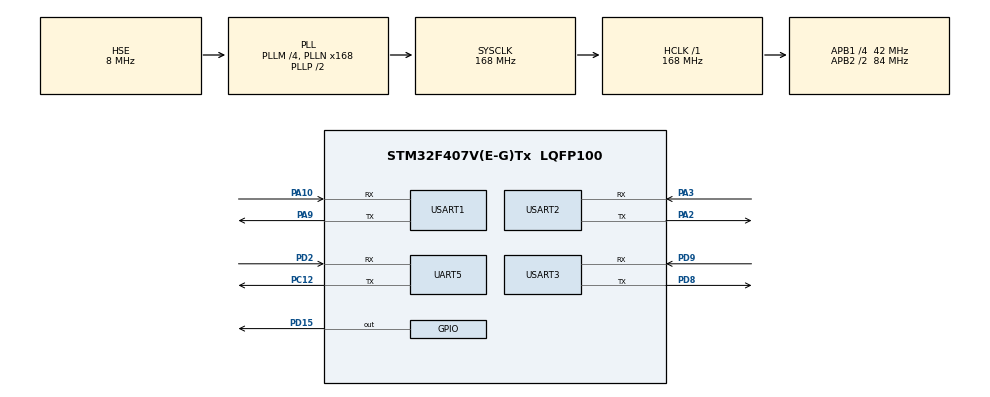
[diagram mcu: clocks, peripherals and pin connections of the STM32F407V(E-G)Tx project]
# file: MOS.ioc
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Dma.Request0=USART2_TX
Dma.Request1=USART2_RX
Dma.Request2=USART3_RX
Dma.Request3=UART5_RX
Dma.Request4=UART5_TX
Dma.UART5_RX.3.Direction=DMA_PERIPH_TO_MEMORY
Dma.UART5_RX.3.FIFOMode=DMA_FIFOMODE_DISABLE
Dma.UART5_RX.3.Instance=DMA1_Stream0
Dma.UART5_RX.3.MemDataAlignment=DMA_MDATAALIGN_BYTE
Dma.UART5_RX.3.MemInc=DMA_MINC_ENABLE
Dma.UART5_RX.3.Mode=DMA_NORMAL
Dma.UART5_RX.3.PeriphDataAlignment=DMA_PDATAALIGN_BYTE
Dma.UART5_RX.3.PeriphInc=DMA_PINC_DISABLE
Dma.UART5_RX.3.Priority=DMA_PRIORITY_LOW
Dma.UART5_TX.4.Direction=DMA_MEMORY_TO_PERIPH
Dma.UART5_TX.4.FIFOMode=DMA_FIFOMODE_DISABLE
Dma.UART5_TX.4.Instance=DMA1_Stream7
Dma.UART5_TX.4.MemDataAlignment=DMA_MDATAALIGN_BYTE
Dma.UART5_TX.4.MemInc=DMA_MINC_ENABLE
Dma.UART5_TX.4.Mode=DMA_NORMAL
Dma.UART5_TX.4.PeriphDataAlignment=DMA_PDATAALIGN_BYTE
Dma.UART5_TX.4.PeriphInc=DMA_PINC_DISABLE
Dma.UART5_TX.4.Priority=DMA_PRIORITY_LOW
Dma.USART2_RX.1.Direction=DMA_PERIPH_TO_MEMORY
Dma.USART2_RX.1.FIFOMode=DMA_FIFOMODE_DISABLE
Dma.USART2_RX.1.Instance=DMA1_Stream5
Dma.USART2_RX.1.MemDataAlignment=DMA_MDATAALIGN_BYTE
Dma.USART2_RX.1.MemInc=DMA_MINC_ENABLE
Dma.USART2_RX.1.Mode=DMA_NORMAL
Dma.USART2_RX.1.PeriphDataAlignment=DMA_PDATAALIGN_BYTE
Dma.USART2_RX.1.PeriphInc=DMA_PINC_DISABLE
Dma.USART2_RX.1.Priority=DMA_PRIORITY_LOW
Dma.USART2_TX.0.Direction=DMA_MEMORY_TO_PERIPH
Dma.USART2_TX.0.FIFOMode=DMA_FIFOMODE_DISABLE
Dma.USART2_TX.0.Instance=DMA1_Stream6
Dma.USART2_TX.0.MemDataAlignment=DMA_MDATAALIGN_BYTE
Dma.USART2_TX.0.MemInc=DMA_MINC_ENABLE
Dma.USART2_TX.0.Mode=DMA_NORMAL
Dma.USART2_TX.0.PeriphDataAlignment=DMA_PDATAALIGN_BYTE
Dma.USART2_TX.0.PeriphInc=DMA_PINC_DISABLE
Dma.USART2_TX.0.Priority=DMA_PRIORITY_LOW
Dma.USART3_RX.2.Direction=DMA_PERIPH_TO_MEMORY
Dma.USART3_RX.2.FIFOMode=DMA_FIFOMODE_DISABLE
Dma.USART3_RX.2.Instance=DMA1_Stream1
Dma.USART3_RX.2.MemDataAlignment=DMA_MDATAALIGN_BYTE
Dma.USART3_RX.2.MemInc=DMA_MINC_ENABLE
Dma.USART3_RX.2.Mode=DMA_NORMAL
Dma.USART3_RX.2.PeriphDataAlignment=DMA_PDATAALIGN_BYTE
Dma.USART3_RX.2.PeriphInc=DMA_PINC_DISABLE
Dma.USART3_RX.2.Priority=DMA_PRIORITY_LOW
Mcu.Family=STM32F4
Mcu.Name=STM32F407V(E-G)Tx
Mcu.Package=LQFP100
NVIC.DMA1_Stream0_IRQn=true\:0\:0\:false\:false\:true\:false\:true\:true
NVIC.DMA1_Stream1_IRQn=true\:0\:0\:false\:false\:true\:false\:true\:true
NVIC.DMA1_Stream5_IRQn=true\:0\:0\:false\:false\:true\:false\:true\:true
NVIC.DMA1_Stream6_IRQn=true\:0\:0\:false\:false\:true\:false\:true\:true
NVIC.DMA1_Stream7_IRQn=true\:0\:0\:false\:false\:true\:false\:true\:true
NVIC.PriorityGroup=NVIC_PRIORITYGROUP_4
NVIC.TIM2_IRQn=true\:15\:0\:true\:false\:true\:true\:true\:true
NVIC.UART5_IRQn=true\:0\:0\:false\:false\:true\:true\:true\:true
NVIC.USART2_IRQn=true\:0\:0\:false\:false\:true\:true\:true\:true
NVIC.USART3_IRQn=true\:0\:0\:false\:false\:true\:true\:true\:true
PA10.Mode=Asynchronous
PA10.Signal=USART1_RX
PA13.Mode=Serial_Wire
PA13.Signal=SYS_JTMS-SWDIO
PA14.Mode=Serial_Wire
PA14.Signal=SYS_JTCK-SWCLK
PA2.Mode=Asynchronous
PA2.Signal=USART2_TX
PA3.Mode=Asynchronous
PA3.Signal=USART2_RX
PA9.Mode=Asynchronous
PA9.Signal=USART1_TX
PC12.Mode=Asynchronous
PC12.Signal=UART5_TX
PC14-OSC32_IN.Mode=LSE-External-Oscillator
PC14-OSC32_IN.Signal=RCC_OSC32_IN
PC15-OSC32_OUT.Mode=LSE-External-Oscillator
PC15-OSC32_OUT.Signal=RCC_OSC32_OUT
PD15.PinState=GPIO_PIN_SET
PD15.Signal=GPIO_Output
PD2.Mode=Asynchronous
PD2.Signal=UART5_RX
PD8.Mode=Asynchronous
PD8.Signal=USART3_TX
PD9.Mode=Asynchronous
PD9.Signal=USART3_RX
PH0-OSC_IN.Mode=HSE-External-Oscillator
PH0-OSC_IN.Signal=RCC_OSC_IN
PH1-OSC_OUT.Mode=HSE-External-Oscillator
PH1-OSC_OUT.Signal=RCC_OSC_OUT
ProjectManager.HeapSize=0x200
ProjectManager.StackSize=0x400
ProjectManager.TargetToolchain=CMake
RCC.48MHZClocksFreq_Value=84000000
RCC.AHBFreq_Value=168000000
RCC.APB1CLKDivider=RCC_HCLK_DIV4
RCC.APB1Freq_Value=42000000
RCC.APB1TimFreq_Value=84000000
RCC.APB2CLKDivider=RCC_HCLK_DIV2
RCC.APB2Freq_Value=84000000
RCC.APB2TimFreq_Value=168000000
RCC.CortexFreq_Value=168000000
RCC.HCLKFreq_Value=168000000
RCC.HSE_VALUE=8000000
RCC.HSI_VALUE=16000000
RCC.PLLM=4
RCC.PLLN=168
RCC.PLLSourceVirtual=RCC_PLLSOURCE_HSE
RCC.SYSCLKFreq_VALUE=168000000
RCC.SYSCLKSource=RCC_SYSCLKSOURCE_PLLCLK
RCC.VCOOutputFreq_Value=336000000
TIM2.Period=40000-1
TIM2.Prescaler=168-1
UART5.VirtualMode=Asynchronous
USART1.VirtualMode=VM_ASYNC
USART2.VirtualMode=VM_ASYNC
USART3.VirtualMode=VM_ASYNC
VP_TIM2_VS_ClockSourceINT.Mode=Internal
board=custom

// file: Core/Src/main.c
/* USER CODE BEGIN Header */
/**
  ******************************************************************************
  * @file           : main.c
  * @brief          : Main program body
  ******************************************************************************
  * @attention
  *
  * Copyright (c) 2026 STMicroelectronics.
  * All rights reserved.
  *
  * This software is licensed under terms that can be found in the LICENSE file
  * in the root directory of this software component.
  * If no LICENSE file comes with this software, it is provided AS-IS.
  *
  ******************************************************************************
  */
/* USER CODE END Header */
#include "main.h"
#include "dma.h"
#include "tim.h"
#include "usart.h"
#include "gpio.h"

/* USER CODE BEGIN Includes */
#include "Emm_V5.h"
#include <stdio.h>
#include <string.h>
#include "math.h"
#include "pid.h"
/* USER CODE END Includes */

/* USER CODE BEGIN PV */

uint8_t rxCmd1[50];
uint8_t rxCmd2[50];
uint32_t pos2 = 0;
uint32_t pos1 = 0;
float Motor_Cur_Pos1 = 0.0f;
float Motor_Cur_Pos2 = 0.0f;
//2的角度为正，1的角度为负
uint8_t dir_m1 = 1, dir_m2 = 0;
uint8_t state = 0; // 0: idle, 1: moving forward, 2: turning

uint8_t raw_data[11];
short roll_raw, pitch_raw, yaw_raw;
float roll, pitch, yaw;
uint8_t rxData[11];

PID pid;

float distance_pulses[Motor] = {0.0f, 0.0f};
/* USER CODE END PV */

void SystemClock_Config(void);

/* USER CODE BEGIN 0 */
//printf重定向到串口1
int __io_putchar(int ch){
  HAL_UART_Transmit(&huart1, (uint8_t *)&ch, 1, HAL_MAX_DELAY);
  return ch;
}

void Motor_Stop(PID *pid){
  pid->Angle_Error = 0.0f;
  pid->Real_Target[0] = 0.0f;
  pid->Real_Target[1] = 0.0f;
  pid->Turn_Out = 0.0f;
  // Emm_V5_Stop_Now(2, 0); // Immediate stop left wheel with sync flag
  // HAL_Delay(10);
  // Emm_V5_Stop_Now(1, 0); // Immediate stop right wheel with sync flag
  // Emm_V5_Vel_Control(1, dir_m1, 0, 10, 1);
  // HAL_Delay(10);
  // Emm_V5_Vel_Control(2, dir_m2, 0, 10, 1);
  // HAL_Delay(10);
  // Emm_V5_Synchronous_motion(0);
  Emm_V5_Vel_Control_1(dir_m1, 0, 10, 0);
  HAL_Delay(10);
  Emm_V5_Vel_Control_2(dir_m2, 0, 10, 0);
  HAL_Delay(10);
}

/* USER CODE END 0 */

int main(void)
{

  /* MCU Configuration--------------------------------------------------------*/

  /* Reset of all peripherals, Initializes the Flash interface and the Systick. */
  HAL_Init();

  /* Configure the system clock */
  SystemClock_Config();

  /* Initialize all configured peripherals */
  MX_GPIO_Init();
  MX_DMA_Init();
  MX_USART2_UART_Init();
  MX_USART1_UART_Init();
  MX_USART3_UART_Init();
  MX_TIM2_Init();
  MX_UART5_Init();
  /* USER CODE BEGIN 2 */
  HAL_Delay(3000);
  //两个电机开始发送位置数据（uart5对应地址1，uart2对应地址2）
  Emm_V5_Auto_Return_Sys_Params_Timed_2(2, S_CPOS, 10);
  Emm_V5_Auto_Return_Sys_Params_Timed_1(1, S_CPOS, 10);
  HAL_Delay(100);
  //开始接收两个电机的位置数据
  HAL_UARTEx_ReceiveToIdle_DMA(&huart2, rxCmd2, sizeof(rxCmd2));
  __HAL_DMA_DISABLE_IT(huart2.hdmarx, DMA_IT_HT);
  HAL_UARTEx_ReceiveToIdle_DMA(&huart5, rxCmd1, sizeof(rxCmd1));
  __HAL_DMA_DISABLE_IT(huart5.hdmarx, DMA_IT_HT);
  //开始接收IMU数据
  HAL_UARTEx_ReceiveToIdle_DMA(&huart3, rxData, sizeof(rxData));
  __HAL_DMA_DISABLE_IT(huart3.hdmarx, DMA_IT_HT);
  //调试正常启动标志
  printf("System Start OK!\r\n");

  // Emm_V5_Vel_Control(1, dir_m1, pid.Target[0], 10, 1);
  // HAL_Delay(10);
  // Emm_V5_Vel_Control(2, dir_m2, pid.Target[1], 10, 1);
  // HAL_Delay(10);
  // Emm_V5_Synchronous_motion(0);
  //初始化PID
  PID_Init(&pid);

  pid.Target[0]=60;
  pid.Target[1]=60;
  state = 1;

  PID_Start(&pid);
  /* USER CODE END 2 */

  /* Infinite loop */
  /* USER CODE BEGIN WHILE */

  while (1)
  {
    switch (state) {
      case 1:
        //电机1的角度为负，电机2的角度为正)
        if((-Motor_Cur_Pos1 + Motor_Cur_Pos2)/2.0f >= (2686.0f - 120.0f) && pid.flag == 1){
          Motor_Stop(&pid);
          state = 2;
          PID_Stop(&pid);
        }
        break;
      case 2:
        dir_m1 = 0;
        Emm_V5_Vel_Control_1(dir_m1, 30, 10, 0);
        HAL_Delay(10);
        Emm_V5_Vel_Control_2(dir_m2, 30, 10, 0);
        HAL_Delay(10);
        if(yaw >= 165.0f || yaw <= -165.0f){
          Motor_Stop(&pid);
          state = 3;
        }
        break;
      case 3:
        // dir_m1 = 1;
        // pid.Target[0]=60;
        // pid.Target[1]=60;
        // PID_Start(&pid);
        // if((-Motor_Cur_Pos1 + Motor_Cur_Pos2)/2.0f >= (2686.0f - 120.0f) && pid.flag == 1){
        //   Motor_Stop(&pid);
        //   state = 4;
        // }
        break;
      default:
        break;
    }
    /* USER CODE END WHILE */

  }
}

void SystemClock_Config(void)
{
  RCC_OscInitTypeDef RCC_OscInitStruct = {0};
  RCC_ClkInitTypeDef RCC_ClkInitStruct = {0};

  /** Configure the main internal regulator output voltage
  */
  __HAL_RCC_PWR_CLK_ENABLE();
  __HAL_PWR_VOLTAGESCALING_CONFIG(PWR_REGULATOR_VOLTAGE_SCALE1);

  /** Initializes the RCC Oscillators according to the specified parameters
  * in the RCC_OscInitTypeDef structure.
  */
  RCC_OscInitStruct.OscillatorType = RCC_OSCILLATORTYPE_HSE;
  RCC_OscInitStruct.HSEState = RCC_HSE_ON;
  RCC_OscInitStruct.PLL.PLLState = RCC_PLL_ON;
  RCC_OscInitStruct.PLL.PLLSource = RCC_PLLSOURCE_HSE;
  RCC_OscInitStruct.PLL.PLLM = 4;
  RCC_OscInitStruct.PLL.PLLN = 168;
  RCC_OscInitStruct.PLL.PLLP = RCC_PLLP_DIV2;
  RCC_OscInitStruct.PLL.PLLQ = 4;
  if (HAL_RCC_OscConfig(&RCC_OscInitStruct) != HAL_OK)
  {
    Error_Handler();
  }

  /** Initializes the CPU, AHB and APB buses clocks
  */
  RCC_ClkInitStruct.ClockType = RCC_CLOCKTYPE_HCLK|RCC_CLOCKTYPE_SYSCLK
                              |RCC_CLOCKTYPE_PCLK1|RCC_CLOCKTYPE_PCLK2;
  RCC_ClkInitStruct.SYSCLKSource = RCC_SYSCLKSOURCE_PLLCLK;
  RCC_ClkInitStruct.AHBCLKDivider = RCC_SYSCLK_DIV1;
  RCC_ClkInitStruct.APB1CLKDivider = RCC_HCLK_DIV4;
  RCC_ClkInitStruct.APB2CLKDivider = RCC_HCLK_DIV2;

  if (HAL_RCC_ClockConfig(&RCC_ClkInitStruct, FLASH_LATENCY_5) != HAL_OK)
  {
    Error_Handler();
  }
}

/* USER CODE BEGIN 4 */
void HAL_TIM_PeriodElapsedCallback(TIM_HandleTypeDef *htim) {
  if (htim == &htim2) {

    if(pid.flag == 1){
      PID_Run(&pid, yaw);

      Emm_V5_Vel_Control_1(dir_m1, pid.Real_Target[1], 10, 0);
      HAL_Delay(10);
      Emm_V5_Vel_Control_2(dir_m2, pid.Real_Target[0], 10, 0);
      HAL_Delay(10);

    }
  }
}

void HAL_UARTEx_RxEventCallback(UART_HandleTypeDef *huart, uint16_t Size){
  if (huart == &huart2) {
    if(rxCmd2[0] == 2 && rxCmd2[1] == 0x36 && Size == 8){
    // 拼接成uint32_t类型
      pos2 = (uint32_t)(
                      ((uint32_t)rxCmd2[3] << 24)    |
                      ((uint32_t)rxCmd2[4] << 16)    |
                      ((uint32_t)rxCmd2[5] << 8)     |
                      ((uint32_t)rxCmd2[6] << 0)
                    );
      Motor_Cur_Pos2 = (float)pos2 * 360.0f / 65536.0f;
      if(rxCmd2[2]) { Motor_Cur_Pos2 = -Motor_Cur_Pos2; }

      // printf("Motor2 Current Position: %.2f degrees\r\n", Motor_Cur_Pos2);
    }
    HAL_UARTEx_ReceiveToIdle_DMA(&huart2, rxCmd2, sizeof(rxCmd2));
    __HAL_DMA_DISABLE_IT(huart2.hdmarx, DMA_IT_HT);
  }

  if (huart == &huart5) {
    if(rxCmd1[0] == 1 && rxCmd1[1] == 0x36 && Size == 8){
    // 拼接成uint32_t类型
      pos1 = (uint32_t)(
                      ((uint32_t)rxCmd1[3] << 24)    |
                      ((uint32_t)rxCmd1[4] << 16)    |
                      ((uint32_t)rxCmd1[5] << 8)     |
                      ((uint32_t)rxCmd1[6] << 0)
                    );
      Motor_Cur_Pos1 = (float)pos1 * 360.0f / 65536.0f;
      if(rxCmd1[2]) { Motor_Cur_Pos1 = -Motor_Cur_Pos1; }

      // printf("Motor1 Current Position: %.2f degrees\r\n", Motor_Cur_Pos1);
    }
    HAL_UARTEx_ReceiveToIdle_DMA(&huart5, rxCmd1, sizeof(rxCmd1));
    __HAL_DMA_DISABLE_IT(huart5.hdmarx, DMA_IT_HT);
  }

  if (huart == &huart3) {
    if(rxData[0] == 0x55 && rxData[1] == 0x53 && rxData[10] == (uint8_t)(rxData[0] + rxData[1] + rxData[2] + rxData[3] + rxData[4] + rxData[5] + rxData[6] + rxData[7] + rxData[8] + rxData[9])) {

			roll_raw  = (short)(rxData[3] << 8 | rxData[2]);
		  pitch_raw = (short)(rxData[5] << 8 | rxData[4]);
		  yaw_raw   = (short)(rxData[7] << 8 | rxData[6]);

		  roll  = (float)roll_raw  / 32768.0f * 180.0f;
		  pitch = (float)pitch_raw / 32768.0f * 180.0f;
		  yaw   = (float)yaw_raw   / 32768.0f * 180.0f;

      printf("yaw: %.2f, Target0: %.2f, Target1: %.2f, Angle_Error: %.2f\r\n", yaw, pid.Real_Target[0], pid.Real_Target[1], pid.Angle_Error);
		}
		HAL_UARTEx_ReceiveToIdle_DMA(&huart3, rxData, sizeof(rxData));
    __HAL_DMA_DISABLE_IT(huart3.hdmarx, DMA_IT_HT);
  }
}
/* USER CODE END 4 */

void Error_Handler(void)
{
  __disable_irq();
  while (1)
  {
  }
}
